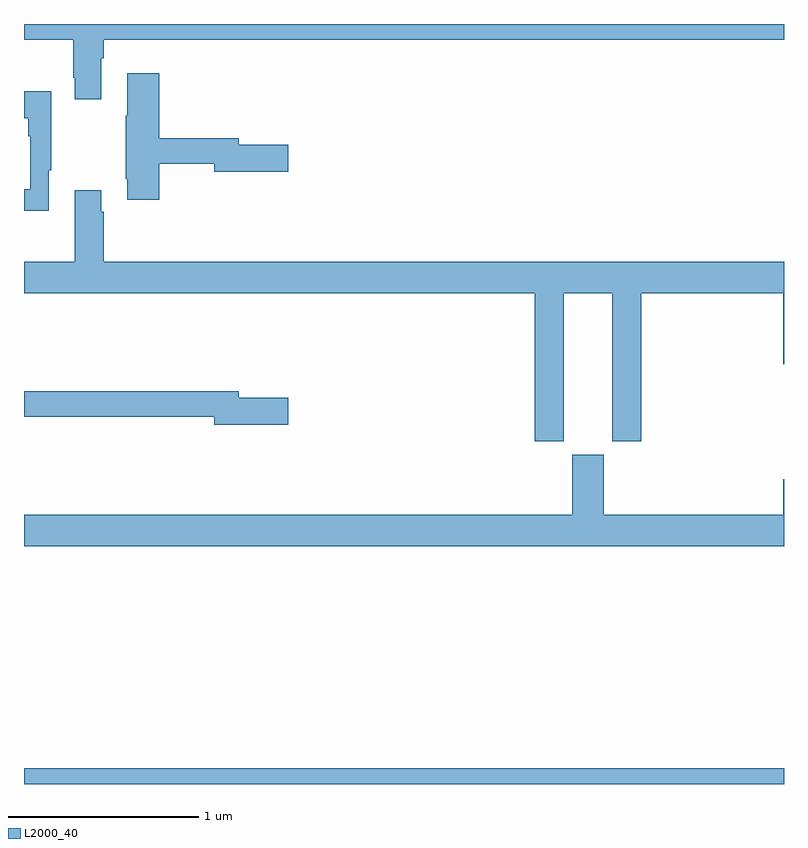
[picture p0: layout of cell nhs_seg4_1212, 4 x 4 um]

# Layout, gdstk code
import gdstk
lib = gdstk.Library(unit=1e-6, precision=1e-09)
def R(c, l, rs):  # rectangles x0, y0, x1, y1
    for r in rs: c.add(gdstk.rectangle(r[:2], r[2:], *l))
def P(c, l, *ps):  # polygons
    for p in ps: c.add(gdstk.Polygon(p, *l))
L2000_40 = (2000, 40)

nhs_seg4_1212 = lib.new_cell('nhs_seg4_1212')
R(nhs_seg4_1212, L2000_40, [(173,796.9,177,796.984)])
P(nhs_seg4_1212, L2000_40, [(173.407,800.72),(173.42,800.72),(173.42,800.816),(177,800.816),(177,800.9),(173,800.9),(173,800.816),(173.26,800.816),(173.26,800.617),(173.267,800.617),(173.267,800.505),(173.407,800.505)],
  [(173.711,800.164),(174.002,800.164),(174.002,800.122),(174.391,800.122),(174.391,800.264),(174.13,800.264),(174.13,800.3),(173.711,800.3),(173.711,800.641),(173.543,800.641),(173.543,800.417),(173.536,800.417),(173.536,800.086),(173.543,800.086),(173.543,799.974),(173.711,799.974)],
  [(173.131,800.129),(173.143,800.129),(173.143,800.545),(173,800.545),(173,800.405),(173.022,800.405),(173.022,800.309),(173.034,800.309),(173.034,800.03),(173,800.03),(173,799.917),(173.131,799.917)],
  [(175.84,799.484),(176.096,799.484),(176.096,798.705),(176.249,798.705),(176.249,799.484),(176.996,799.484),(176.996,799.11),(177,799.11),(177,799.648),(173.42,799.648),(173.42,799.913),(173.407,799.913),(173.407,800.026),(173.267,800.026),(173.267,799.648),(173,799.648),(173,799.484),(175.688,799.484),(175.688,798.705),(175.84,798.705)],
  [(174.391,798.932),(174.13,798.932),(174.13,798.968),(173,798.968),(173,798.832),(174.002,798.832),(174.002,798.79),(174.391,798.79)],
  [(177,798.505),(176.996,798.505),(176.996,798.316),(176.05,798.316),(176.05,798.633),(175.886,798.633),(175.886,798.316),(173,798.316),(173,798.152),(177,798.152)])

lib.write_gds('nhs_seg4_1212.gds')
